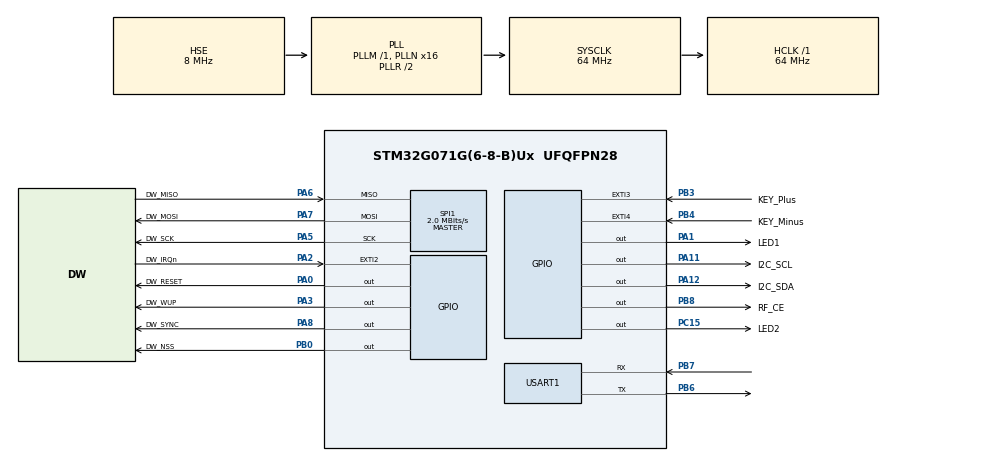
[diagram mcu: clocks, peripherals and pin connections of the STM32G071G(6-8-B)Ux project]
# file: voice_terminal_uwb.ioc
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Dma.Request0=USART1_RX
Dma.Request1=USART1_TX
Dma.USART1_RX.0.Direction=DMA_PERIPH_TO_MEMORY
Dma.USART1_RX.0.EventEnable=DISABLE
Dma.USART1_RX.0.Instance=DMA1_Channel6
Dma.USART1_RX.0.MemDataAlignment=DMA_MDATAALIGN_BYTE
Dma.USART1_RX.0.MemInc=DMA_MINC_ENABLE
Dma.USART1_RX.0.Mode=DMA_CIRCULAR
Dma.USART1_RX.0.PeriphDataAlignment=DMA_PDATAALIGN_BYTE
Dma.USART1_RX.0.PeriphInc=DMA_PINC_DISABLE
Dma.USART1_RX.0.Polarity=HAL_DMAMUX_REQ_GEN_RISING
Dma.USART1_RX.0.Priority=DMA_PRIORITY_LOW
Dma.USART1_RX.0.RequestNumber=1
Dma.USART1_RX.0.SignalID=NONE
Dma.USART1_RX.0.SyncEnable=DISABLE
Dma.USART1_RX.0.SyncPolarity=HAL_DMAMUX_SYNC_NO_EVENT
Dma.USART1_RX.0.SyncRequestNumber=1
Dma.USART1_RX.0.SyncSignalID=NONE
Dma.USART1_TX.1.Direction=DMA_MEMORY_TO_PERIPH
Dma.USART1_TX.1.EventEnable=DISABLE
Dma.USART1_TX.1.Instance=DMA1_Channel7
Dma.USART1_TX.1.MemDataAlignment=DMA_MDATAALIGN_BYTE
Dma.USART1_TX.1.MemInc=DMA_MINC_ENABLE
Dma.USART1_TX.1.Mode=DMA_NORMAL
Dma.USART1_TX.1.PeriphDataAlignment=DMA_PDATAALIGN_BYTE
Dma.USART1_TX.1.PeriphInc=DMA_PINC_DISABLE
Dma.USART1_TX.1.Polarity=HAL_DMAMUX_REQ_GEN_RISING
Dma.USART1_TX.1.Priority=DMA_PRIORITY_LOW
Dma.USART1_TX.1.RequestNumber=1
Dma.USART1_TX.1.SignalID=NONE
Dma.USART1_TX.1.SyncEnable=DISABLE
Dma.USART1_TX.1.SyncPolarity=HAL_DMAMUX_SYNC_NO_EVENT
Dma.USART1_TX.1.SyncRequestNumber=1
Dma.USART1_TX.1.SyncSignalID=NONE
IWDG.Prescaler=IWDG_PRESCALER_64
IWDG.Reload=2000
IWDG.Window=2000
Mcu.Family=STM32G0
Mcu.Name=STM32G071G(6-8-B)Ux
Mcu.Package=UFQFPN28
NVIC.DMA1_Ch4_7_DMAMUX1_OVR_IRQn=true\:0\:0\:false\:false\:true\:false\:true\:true
NVIC.EXTI2_3_IRQn=true\:0\:0\:false\:false\:true\:true\:true\:true
NVIC.EXTI4_15_IRQn=true\:0\:0\:false\:false\:true\:true\:true\:true
NVIC.TIM6_DAC_LPTIM1_IRQn=true\:0\:0\:false\:false\:true\:true\:true\:true
NVIC.USART1_IRQn=true\:0\:0\:false\:false\:true\:true\:true\:true
PA0.GPIO_Label=DW_RESET
PA0.Signal=GPIO_Output
PA1.GPIO_Label=LED1
PA1.PinState=GPIO_PIN_SET
PA1.Signal=GPIO_Output
PA11\ [PA9].GPIO_Label=I2C_SCL
PA11\ [PA9].GPIO_ModeDefaultOutputPP=GPIO_MODE_OUTPUT_OD
PA11\ [PA9].GPIO_PuPd=GPIO_NOPULL
PA11\ [PA9].GPIO_Speed=GPIO_SPEED_FREQ_MEDIUM
PA11\ [PA9].Signal=GPIO_Output
PA12\ [PA10].GPIO_Label=I2C_SDA
PA12\ [PA10].GPIO_ModeDefaultOutputPP=GPIO_MODE_OUTPUT_OD
PA12\ [PA10].GPIO_PuPd=GPIO_NOPULL
PA12\ [PA10].GPIO_Speed=GPIO_SPEED_FREQ_MEDIUM
PA12\ [PA10].Signal=GPIO_Output
PA13.Mode=Serial_Wire
PA13.Signal=SYS_SWDIO
PA14-BOOT0.Mode=Serial_Wire
PA14-BOOT0.Signal=SYS_SWCLK
PA2.GPIO_Label=DW_IRQn
PA2.GPIO_PuPd=GPIO_PULLDOWN
PA2.Signal=GPXTI2
PA3.GPIO_Label=DW_WUP
PA3.GPIO_PuPd=GPIO_PULLDOWN
PA3.Signal=GPIO_Output
PA5.GPIO_Label=DW_SCK
PA5.GPIO_Speed=GPIO_SPEED_FREQ_HIGH
PA5.Mode=Full_Duplex_Master
PA5.Signal=SPI1_SCK
PA6.GPIO_Label=DW_MISO
PA6.GPIO_Speed=GPIO_SPEED_FREQ_HIGH
PA6.Mode=Full_Duplex_Master
PA6.Signal=SPI1_MISO
PA7.GPIO_Label=DW_MOSI
PA7.GPIO_Speed=GPIO_SPEED_FREQ_HIGH
PA7.Mode=Full_Duplex_Master
PA7.Signal=SPI1_MOSI
PA8.GPIO_Label=DW_SYNC
PA8.GPIO_Speed=GPIO_SPEED_FREQ_HIGH
PA8.Signal=GPIO_Output
PB0.GPIO_Label=DW_NSS
PB0.GPIO_PuPd=GPIO_NOPULL
PB0.GPIO_Speed=GPIO_SPEED_FREQ_HIGH
PB0.Signal=GPIO_Output
PB3.GPIO_Label=KEY_Plus
PB3.GPIO_ModeDefaultEXTI=GPIO_MODE_IT_RISING_FALLING
PB3.GPIO_PuPd=GPIO_PULLUP
PB3.Signal=GPXTI3
PB4.GPIO_Label=KEY_Minus
PB4.GPIO_ModeDefaultEXTI=GPIO_MODE_IT_RISING_FALLING
PB4.GPIO_PuPd=GPIO_PULLUP
PB4.Signal=GPXTI4
PB6.Mode=Asynchronous
PB6.Signal=USART1_TX
PB7.Mode=Asynchronous
PB7.Signal=USART1_RX
PB8.GPIO_Label=RF_CE
PB8.PinState=GPIO_PIN_SET
PB8.Signal=GPIO_Output
PC14-OSC32_IN\ (PC14).Mode=HSE-External-Clock-Source
PC14-OSC32_IN\ (PC14).Signal=RCC_OSC_IN
PC15-OSC32_OUT\ (PC15).GPIO_Label=LED2
PC15-OSC32_OUT\ (PC15).PinState=GPIO_PIN_SET
PC15-OSC32_OUT\ (PC15).Signal=GPIO_Output
ProjectManager.HeapSize=0x400
ProjectManager.StackSize=0x400
ProjectManager.TargetToolchain=Makefile
RCC.ADCFreq_Value=64000000
RCC.AHBFreq_Value=64000000
RCC.CortexFreq_Value=64000000
RCC.EXTERNAL_CLOCK_VALUE=48000
RCC.HCLKFreq_Value=64000000
RCC.HSE_VALUE=8000000
RCC.HSI_VALUE=16000000
RCC.LSE_VALUE=32768
RCC.PLLN=16
RCC.PLLSourceVirtual=RCC_PLLSOURCE_HSE
RCC.SYSCLKFreq_VALUE=64000000
RCC.SYSCLKSource=RCC_SYSCLKSOURCE_PLLCLK
RCC.VCOOutputFreq_Value=128000000
SPI1.BaudRatePrescaler=SPI_BAUDRATEPRESCALER_32
SPI1.CalculateBaudRate=2.0 MBits/s
SPI1.Direction=SPI_DIRECTION_2LINES
SPI1.Mode=SPI_MODE_MASTER
SPI1.VirtualType=VM_MASTER
TIM6.Prescaler=64-1
TIM7.Prescaler=64-1
USART1.VirtualMode-Asynchronous=VM_ASYNC
VP_IWDG_VS_IWDG.Mode=IWDG_Activate
VP_SYS_VS_DBSignals.Mode=DisableDeadBatterySignals
VP_TIM6_VS_ClockSourceINT.Mode=Enable_Timer
VP_TIM7_VS_ClockSourceINT.Mode=Enable_Timer
board=custom

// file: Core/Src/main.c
/* USER CODE BEGIN Header */
/**
 ******************************************************************************
 * @file           : main.c
 * @brief          : Main program body
 ******************************************************************************
 * @attention
 *
 * Copyright (c) 2023 STMicroelectronics.
 * All rights reserved.
 *
 * This software is licensed under terms that can be found in the LICENSE file
 * in the root directory of this software component.
 * If no LICENSE file comes with this software, it is provided AS-IS.
 *
 ******************************************************************************
 */
/* USER CODE END Header */
#include "main.h"
#include "dma.h"
#include "iwdg.h"
#include "spi.h"
#include "tim.h"
#include "usart.h"
#include "gpio.h"

/* USER CODE BEGIN Includes */
#include "port.h"
#include "instance.h"
#if (OLED == 1)
#include "ssd1306.h"
#endif
#include "bk9535.h"
#include "key.h"
#include "eeprom.h"
#include "syscall.h"
/* USER CODE END Includes */

/* USER CODE BEGIN PTD */
#define SOFTWARE_VER_STRING "RTLS V1"

/* USER CODE END PTD */

/* USER CODE BEGIN PD */
uint8_t local_id = 0;

const uint8_t LOCAL_ID[16] = {
    0x10,
    0x11,
    0x12,
    0x13,
    0x14,
    0x15,
    0x16,
    0x17,
    0x18,
    0x19,
    0x1A,
    0x1B,
    0x1C,
    0x1E,
    0x1F,
    0x20};
/* USER CODE END PD */

/* USER CODE BEGIN PM */
extern uint8_t UART_RX_BUF[1];
/* USER CODE END PM */

/* USER CODE BEGIN PV */
extern void dw_main(void);
/* USER CODE END PV */

void SystemClock_Config(void);

int main(void)
{

  /* MCU Configuration--------------------------------------------------------*/

  /* Reset of all peripherals, Initializes the Flash interface and the Systick. */
  HAL_Init();

  /* Configure the system clock */
  SystemClock_Config();

  /* Initialize all configured peripherals */
  MX_GPIO_Init();
  MX_DMA_Init();
  MX_SPI1_Init();
  MX_TIM6_Init();
  MX_USART1_UART_Init();
  MX_TIM7_Init();
  MX_IWDG_Init();
  /* USER CODE BEGIN 2 */
  HAL_Delay(200);
  if (AT24CXX_Check())
  {
    Init_Param();
    AT24CXX_WriteOneByte(0x000, EEPROM_DATAFORMAT);
    HAL_Delay(10);
  }
  rWorkChannel = CHA;
  KEY_Config();
  SSD1306_Init();
  LCD_Title(SOFTWARE_VER_STRING);
  HAL_GPIO_WritePin(RF_CE_GPIO_Port, RF_CE_Pin, SET);

  local_id = AT24CXX_ReadOneByte(LOCAL_ID_ADDR);
  USER_DATA.rUserFreqIndex = AT24CXX_ReadOneByte(FREQ_ADDR);
  Flash_LED(LED_RED, 50, 3, LIGHT_ON);
  if (BK_Init())
    Flash_LED(LED_GREEN, 50, 3, LIGHT_ON);
  HAL_UART_Receive_DMA(&huart1, &UART_RX_BUF[0], 1); // 启动DMA接收
  //  setup_DW3000RSTnIRQ(0);
  //  dw_main();

  t_PCMCfg cfg;
  cfg.bclk = PCM_SCK_I;
  cfg.dat = PCM_SDA_I;
  cfg.ch = RIGHT_CHANNEL;
  cfg.mode = PCM_SLAVE;
  cfg.lrck = PCM_LRCK_I;
  BK_Tx_I2SOpen(cfg);
  SwitchFreqByIndex(USER_DATA.rUserFreqIndex);

  Disp_ID(local_id);
  Disp_Freq(USER_DATA.rUserFreqIndex);
  /* USER CODE END 2 */

  /* Infinite loop */
  /* USER CODE BEGIN WHILE */
  while (1)
  {
    HAL_IWDG_Refresh(&hiwdg);
    delay_ms(50);
    KEY_Scan();
    // printf("asda\n");
    /* USER CODE END WHILE */

  }
}

void SystemClock_Config(void)
{
  RCC_OscInitTypeDef RCC_OscInitStruct = {0};
  RCC_ClkInitTypeDef RCC_ClkInitStruct = {0};

  /** Configure the main internal regulator output voltage
  */
  HAL_PWREx_ControlVoltageScaling(PWR_REGULATOR_VOLTAGE_SCALE1);

  /** Initializes the RCC Oscillators according to the specified parameters
  * in the RCC_OscInitTypeDef structure.
  */
  RCC_OscInitStruct.OscillatorType = RCC_OSCILLATORTYPE_LSI|RCC_OSCILLATORTYPE_HSE;
  RCC_OscInitStruct.HSEState = RCC_HSE_BYPASS;
  RCC_OscInitStruct.LSIState = RCC_LSI_ON;
  RCC_OscInitStruct.PLL.PLLState = RCC_PLL_ON;
  RCC_OscInitStruct.PLL.PLLSource = RCC_PLLSOURCE_HSE;
  RCC_OscInitStruct.PLL.PLLM = RCC_PLLM_DIV1;
  RCC_OscInitStruct.PLL.PLLN = 16;
  RCC_OscInitStruct.PLL.PLLP = RCC_PLLP_DIV2;
  RCC_OscInitStruct.PLL.PLLQ = RCC_PLLQ_DIV2;
  RCC_OscInitStruct.PLL.PLLR = RCC_PLLR_DIV2;
  if (HAL_RCC_OscConfig(&RCC_OscInitStruct) != HAL_OK)
  {
    Error_Handler();
  }

  /** Initializes the CPU, AHB and APB buses clocks
  */
  RCC_ClkInitStruct.ClockType = RCC_CLOCKTYPE_HCLK|RCC_CLOCKTYPE_SYSCLK
                              |RCC_CLOCKTYPE_PCLK1;
  RCC_ClkInitStruct.SYSCLKSource = RCC_SYSCLKSOURCE_PLLCLK;
  RCC_ClkInitStruct.AHBCLKDivider = RCC_SYSCLK_DIV1;
  RCC_ClkInitStruct.APB1CLKDivider = RCC_HCLK_DIV1;

  if (HAL_RCC_ClockConfig(&RCC_ClkInitStruct, FLASH_LATENCY_2) != HAL_OK)
  {
    Error_Handler();
  }
}

void Error_Handler(void)
{
  __disable_irq();
  while (1)
  {
  }
}
